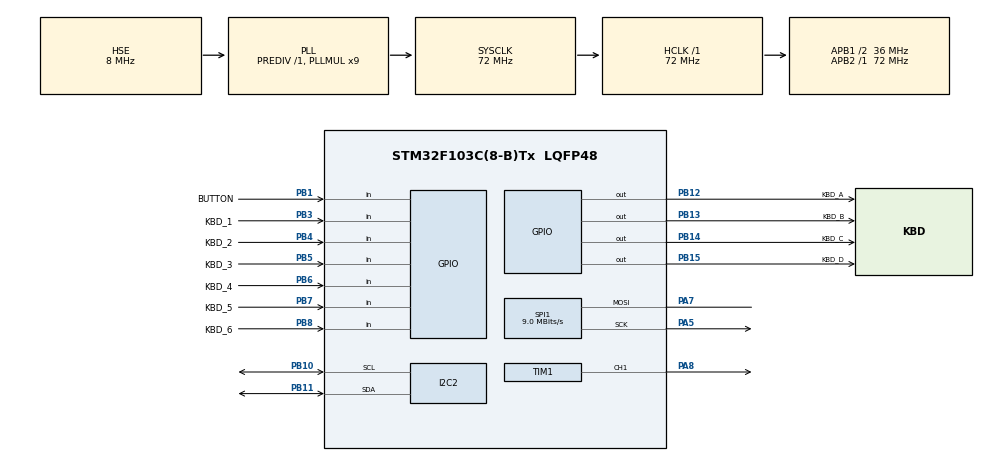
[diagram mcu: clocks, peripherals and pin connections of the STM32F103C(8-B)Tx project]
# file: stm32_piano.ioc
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I2C2.I2C_Mode=I2C_Fast
Mcu.Family=STM32F1
Mcu.Name=STM32F103C(8-B)Tx
Mcu.Package=LQFP48
NVIC.PriorityGroup=NVIC_PRIORITYGROUP_4
NVIC.TIM1_UP_IRQn=true\:0\:0\:false\:false\:true\:true\:true\:true
PA13.Mode=Serial_Wire
PA13.Signal=SYS_JTMS-SWDIO
PA14.Mode=Serial_Wire
PA14.Signal=SYS_JTCK-SWCLK
PA5.Mode=Simplex_Bidirectional_Master
PA5.Signal=SPI1_SCK
PA7.Mode=Simplex_Bidirectional_Master
PA7.Signal=SPI1_MOSI
PA8.Signal=S_TIM1_CH1
PB1.GPIO_Label=BUTTON
PB1.GPIO_PuPd=GPIO_PULLUP
PB1.Signal=GPIO_Input
PB10.Mode=I2C
PB10.Signal=I2C2_SCL
PB11.Mode=I2C
PB11.Signal=I2C2_SDA
PB12.GPIO_Label=KBD_A
PB12.GPIO_ModeDefaultOutputPP=GPIO_MODE_OUTPUT_OD
PB12.GPIO_PuPd=GPIO_NOPULL
PB12.PinState=GPIO_PIN_SET
PB12.Signal=GPIO_Output
PB13.GPIO_Label=KBD_B
PB13.GPIO_ModeDefaultOutputPP=GPIO_MODE_OUTPUT_OD
PB13.GPIO_PuPd=GPIO_NOPULL
PB13.PinState=GPIO_PIN_SET
PB13.Signal=GPIO_Output
PB14.GPIO_Label=KBD_C
PB14.GPIO_ModeDefaultOutputPP=GPIO_MODE_OUTPUT_OD
PB14.GPIO_PuPd=GPIO_NOPULL
PB14.PinState=GPIO_PIN_SET
PB14.Signal=GPIO_Output
PB15.GPIO_Label=KBD_D
PB15.GPIO_ModeDefaultOutputPP=GPIO_MODE_OUTPUT_OD
PB15.GPIO_PuPd=GPIO_NOPULL
PB15.PinState=GPIO_PIN_SET
PB15.Signal=GPIO_Output
PB3.GPIO_Label=KBD_1
PB3.GPIO_PuPd=GPIO_PULLUP
PB3.Signal=GPIO_Input
PB4.GPIO_Label=KBD_2
PB4.GPIO_PuPd=GPIO_PULLUP
PB4.Signal=GPIO_Input
PB5.GPIO_Label=KBD_3
PB5.GPIO_PuPd=GPIO_PULLUP
PB5.Signal=GPIO_Input
PB6.GPIO_Label=KBD_4
PB6.GPIO_PuPd=GPIO_PULLUP
PB6.Signal=GPIO_Input
PB7.GPIO_Label=KBD_5
PB7.GPIO_PuPd=GPIO_PULLUP
PB7.Signal=GPIO_Input
PB8.GPIO_Label=KBD_6
PB8.GPIO_PuPd=GPIO_PULLUP
PB8.Signal=GPIO_Input
PD0-OSC_IN.Mode=HSE-External-Oscillator
PD0-OSC_IN.Signal=RCC_OSC_IN
PD1-OSC_OUT.Mode=HSE-External-Oscillator
PD1-OSC_OUT.Signal=RCC_OSC_OUT
ProjectManager.HeapSize=0x200
ProjectManager.StackSize=0x400
ProjectManager.TargetToolchain=STM32CubeIDE
RCC.AHBFreq_Value=72000000
RCC.APB1CLKDivider=RCC_HCLK_DIV2
RCC.APB1Freq_Value=36000000
RCC.APB1TimFreq_Value=72000000
RCC.APB2Freq_Value=72000000
RCC.APB2TimFreq_Value=72000000
RCC.HCLKFreq_Value=72000000
RCC.PLLMUL=RCC_PLL_MUL9
RCC.PLLSourceVirtual=RCC_PLLSOURCE_HSE
RCC.SYSCLKFreq_VALUE=72000000
RCC.SYSCLKSource=RCC_SYSCLKSOURCE_PLLCLK
RCC.USBFreq_Value=72000000
SH.S_TIM1_CH1.0=TIM1_CH1,PWM Generation1 CH1
SPI1.BaudRatePrescaler=SPI_BAUDRATEPRESCALER_8
SPI1.CalculateBaudRate=9.0 MBits/s
SPI1.Direction=SPI_DIRECTION_1LINE
SPI1.Mode=SPI_MODE_MASTER
SPI1.VirtualType=VM_MASTER
TIM1.AutoReloadPreload=TIM_AUTORELOAD_PRELOAD_DISABLE
TIM1.Channel-PWM\ Generation1\ CH1=TIM_CHANNEL_1
TIM1.ClockDivision=TIM_CLOCKDIVISION_DIV1
TIM1.Period=2285
TIM1.Prescaler=0
board=custom

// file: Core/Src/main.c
/* USER CODE BEGIN Header */
/**
  ******************************************************************************
  * @file           : main.c
  * @brief          : Main program body
  ******************************************************************************
  * @attention
  *
  * Copyright (c) 2024 STMicroelectronics.
  * All rights reserved.
  *
  * This software is licensed under terms that can be found in the LICENSE file
  * in the root directory of this software component.
  * If no LICENSE file comes with this software, it is provided AS-IS.
  *
  ******************************************************************************
  */
/* USER CODE END Header */
#include "main.h"

I2C_HandleTypeDef hi2c2;

SPI_HandleTypeDef hspi1;

TIM_HandleTypeDef htim1;

void SystemClock_Config(void);
static void MX_GPIO_Init(void);
static void MX_SPI1_Init(void);
static void MX_TIM1_Init(void);
static void MX_I2C2_Init(void);

/* USER CODE BEGIN 0 */
gfx8_display_driver_t ssd1306_driver = {
		.width = SSD1306_WIDTH, .height = SSD1306_HEIGHT,
		.init = SSD1306_Init,
		.clear = SSD1306_Clear,
		.draw = SSD1306_Update,
		.get_buffer = SSD1306_GetFramebuffer,
		.set_backlight = NULL,
		.get_backlight = NULL,
		.sleep = SSD1306_Sleep
};
/* USER CODE END 0 */

int main(void)
{

  /* MCU Configuration--------------------------------------------------------*/

  /* Reset of all peripherals, Initializes the Flash interface and the Systick. */
  HAL_Init();

  /* Configure the system clock */
  SystemClock_Config();

  /* Initialize all configured peripherals */
  MX_GPIO_Init();
  MX_SPI1_Init();
  MX_TIM1_Init();
  MX_I2C2_Init();
  /* USER CODE BEGIN 2 */
  G8Lib_Init(&ssd1306_driver);
  startup_animation();

  synth_init();
  /* USER CODE END 2 */

  /* Infinite loop */
  while (1)
  {

    /* USER CODE BEGIN 3 */
	  synth_set_keys(keyboard_read());
	  synth_tick();
  }
  /* USER CODE END 3 */
}

void SystemClock_Config(void)
{
  RCC_OscInitTypeDef RCC_OscInitStruct = {0};
  RCC_ClkInitTypeDef RCC_ClkInitStruct = {0};

  /** Initializes the RCC Oscillators according to the specified parameters
  * in the RCC_OscInitTypeDef structure.
  */
  RCC_OscInitStruct.OscillatorType = RCC_OSCILLATORTYPE_HSE;
  RCC_OscInitStruct.HSEState = RCC_HSE_ON;
  RCC_OscInitStruct.HSEPredivValue = RCC_HSE_PREDIV_DIV1;
  RCC_OscInitStruct.HSIState = RCC_HSI_ON;
  RCC_OscInitStruct.PLL.PLLState = RCC_PLL_ON;
  RCC_OscInitStruct.PLL.PLLSource = RCC_PLLSOURCE_HSE;
  RCC_OscInitStruct.PLL.PLLMUL = RCC_PLL_MUL9;
  if (HAL_RCC_OscConfig(&RCC_OscInitStruct) != HAL_OK)
  {
    Error_Handler();
  }

  /** Initializes the CPU, AHB and APB buses clocks
  */
  RCC_ClkInitStruct.ClockType = RCC_CLOCKTYPE_HCLK|RCC_CLOCKTYPE_SYSCLK
                              |RCC_CLOCKTYPE_PCLK1|RCC_CLOCKTYPE_PCLK2;
  RCC_ClkInitStruct.SYSCLKSource = RCC_SYSCLKSOURCE_PLLCLK;
  RCC_ClkInitStruct.AHBCLKDivider = RCC_SYSCLK_DIV1;
  RCC_ClkInitStruct.APB1CLKDivider = RCC_HCLK_DIV2;
  RCC_ClkInitStruct.APB2CLKDivider = RCC_HCLK_DIV1;

  if (HAL_RCC_ClockConfig(&RCC_ClkInitStruct, FLASH_LATENCY_2) != HAL_OK)
  {
    Error_Handler();
  }
}

static void MX_I2C2_Init(void)
{

  hi2c2.Instance = I2C2;
  hi2c2.Init.ClockSpeed = 400000;
  hi2c2.Init.DutyCycle = I2C_DUTYCYCLE_2;
  hi2c2.Init.OwnAddress1 = 0;
  hi2c2.Init.AddressingMode = I2C_ADDRESSINGMODE_7BIT;
  hi2c2.Init.DualAddressMode = I2C_DUALADDRESS_DISABLE;
  hi2c2.Init.OwnAddress2 = 0;
  hi2c2.Init.GeneralCallMode = I2C_GENERALCALL_DISABLE;
  hi2c2.Init.NoStretchMode = I2C_NOSTRETCH_DISABLE;
  if (HAL_I2C_Init(&hi2c2) != HAL_OK)
  {
    Error_Handler();
  }

}

static void MX_SPI1_Init(void)
{

  /* SPI1 parameter configuration*/
  hspi1.Instance = SPI1;
  hspi1.Init.Mode = SPI_MODE_MASTER;
  hspi1.Init.Direction = SPI_DIRECTION_1LINE;
  hspi1.Init.DataSize = SPI_DATASIZE_8BIT;
  hspi1.Init.CLKPolarity = SPI_POLARITY_LOW;
  hspi1.Init.CLKPhase = SPI_PHASE_1EDGE;
  hspi1.Init.NSS = SPI_NSS_SOFT;
  hspi1.Init.BaudRatePrescaler = SPI_BAUDRATEPRESCALER_8;
  hspi1.Init.FirstBit = SPI_FIRSTBIT_MSB;
  hspi1.Init.TIMode = SPI_TIMODE_DISABLE;
  hspi1.Init.CRCCalculation = SPI_CRCCALCULATION_DISABLE;
  hspi1.Init.CRCPolynomial = 10;
  if (HAL_SPI_Init(&hspi1) != HAL_OK)
  {
    Error_Handler();
  }

}

static void MX_TIM1_Init(void)
{

  TIM_MasterConfigTypeDef sMasterConfig = {0};
  TIM_OC_InitTypeDef sConfigOC = {0};
  TIM_BreakDeadTimeConfigTypeDef sBreakDeadTimeConfig = {0};

  htim1.Instance = TIM1;
  htim1.Init.Prescaler = 0;
  htim1.Init.CounterMode = TIM_COUNTERMODE_UP;
  htim1.Init.Period = 2285;
  htim1.Init.ClockDivision = TIM_CLOCKDIVISION_DIV1;
  htim1.Init.RepetitionCounter = 0;
  htim1.Init.AutoReloadPreload = TIM_AUTORELOAD_PRELOAD_DISABLE;
  if (HAL_TIM_PWM_Init(&htim1) != HAL_OK)
  {
    Error_Handler();
  }
  sMasterConfig.MasterOutputTrigger = TIM_TRGO_RESET;
  sMasterConfig.MasterSlaveMode = TIM_MASTERSLAVEMODE_DISABLE;
  if (HAL_TIMEx_MasterConfigSynchronization(&htim1, &sMasterConfig) != HAL_OK)
  {
    Error_Handler();
  }
  sConfigOC.OCMode = TIM_OCMODE_PWM1;
  sConfigOC.Pulse = 0;
  sConfigOC.OCPolarity = TIM_OCPOLARITY_HIGH;
  sConfigOC.OCNPolarity = TIM_OCNPOLARITY_HIGH;
  sConfigOC.OCFastMode = TIM_OCFAST_DISABLE;
  sConfigOC.OCIdleState = TIM_OCIDLESTATE_RESET;
  sConfigOC.OCNIdleState = TIM_OCNIDLESTATE_RESET;
  if (HAL_TIM_PWM_ConfigChannel(&htim1, &sConfigOC, TIM_CHANNEL_1) != HAL_OK)
  {
    Error_Handler();
  }
  sBreakDeadTimeConfig.OffStateRunMode = TIM_OSSR_DISABLE;
  sBreakDeadTimeConfig.OffStateIDLEMode = TIM_OSSI_DISABLE;
  sBreakDeadTimeConfig.LockLevel = TIM_LOCKLEVEL_OFF;
  sBreakDeadTimeConfig.DeadTime = 0;
  sBreakDeadTimeConfig.BreakState = TIM_BREAK_DISABLE;
  sBreakDeadTimeConfig.BreakPolarity = TIM_BREAKPOLARITY_HIGH;
  sBreakDeadTimeConfig.AutomaticOutput = TIM_AUTOMATICOUTPUT_DISABLE;
  if (HAL_TIMEx_ConfigBreakDeadTime(&htim1, &sBreakDeadTimeConfig) != HAL_OK)
  {
    Error_Handler();
  }
  HAL_TIM_MspPostInit(&htim1);

}

static void MX_GPIO_Init(void)
{
  GPIO_InitTypeDef GPIO_InitStruct = {0};

  /* GPIO Ports Clock Enable */
  __HAL_RCC_GPIOC_CLK_ENABLE();
  __HAL_RCC_GPIOD_CLK_ENABLE();
  __HAL_RCC_GPIOA_CLK_ENABLE();
  __HAL_RCC_GPIOB_CLK_ENABLE();

  /*Configure GPIO pin Output Level */
  HAL_GPIO_WritePin(GPIOB, KBD_A_Pin|KBD_B_Pin|KBD_C_Pin|KBD_D_Pin, GPIO_PIN_SET);

  /*Configure GPIO pins : PC13 PC14 PC15 */
  GPIO_InitStruct.Pin = GPIO_PIN_13|GPIO_PIN_14|GPIO_PIN_15;
  GPIO_InitStruct.Mode = GPIO_MODE_ANALOG;
  HAL_GPIO_Init(GPIOC, &GPIO_InitStruct);

  /*Configure GPIO pins : PA0 PA1 PA2 PA3
                           PA4 PA6 PA9 PA10
                           PA11 PA12 PA15 */
  GPIO_InitStruct.Pin = GPIO_PIN_0|GPIO_PIN_1|GPIO_PIN_2|GPIO_PIN_3
                          |GPIO_PIN_4|GPIO_PIN_6|GPIO_PIN_9|GPIO_PIN_10
                          |GPIO_PIN_11|GPIO_PIN_12|GPIO_PIN_15;
  GPIO_InitStruct.Mode = GPIO_MODE_ANALOG;
  HAL_GPIO_Init(GPIOA, &GPIO_InitStruct);

  /*Configure GPIO pins : PB0 PB2 PB9 */
  GPIO_InitStruct.Pin = GPIO_PIN_0|GPIO_PIN_2|GPIO_PIN_9;
  GPIO_InitStruct.Mode = GPIO_MODE_ANALOG;
  HAL_GPIO_Init(GPIOB, &GPIO_InitStruct);

  /*Configure GPIO pins : BUTTON_Pin KBD_1_Pin KBD_2_Pin KBD_3_Pin
                           KBD_4_Pin KBD_5_Pin KBD_6_Pin */
  GPIO_InitStruct.Pin = BUTTON_Pin|KBD_1_Pin|KBD_2_Pin|KBD_3_Pin
                          |KBD_4_Pin|KBD_5_Pin|KBD_6_Pin;
  GPIO_InitStruct.Mode = GPIO_MODE_INPUT;
  GPIO_InitStruct.Pull = GPIO_PULLUP;
  HAL_GPIO_Init(GPIOB, &GPIO_InitStruct);

  /*Configure GPIO pins : KBD_A_Pin KBD_B_Pin KBD_C_Pin KBD_D_Pin */
  GPIO_InitStruct.Pin = KBD_A_Pin|KBD_B_Pin|KBD_C_Pin|KBD_D_Pin;
  GPIO_InitStruct.Mode = GPIO_MODE_OUTPUT_OD;
  GPIO_InitStruct.Pull = GPIO_NOPULL;
  GPIO_InitStruct.Speed = GPIO_SPEED_FREQ_LOW;
  HAL_GPIO_Init(GPIOB, &GPIO_InitStruct);

}

/* USER CODE BEGIN 4 */
uint32_t keyboard_coulumn_pin[] = {KBD_A_Pin, KBD_B_Pin, KBD_C_Pin, KBD_D_Pin};

uint32_t keyboard_read(void){
	 uint32_t tmp = 0;

	 /* Scan keyboard in fast way */
	 for(uint16_t line = 0; line < 4; line++){
		 /* Reset all lines */
		 GPIOB->BSRR = KBD_A_Pin|KBD_B_Pin|KBD_C_Pin|KBD_D_Pin;

		 /* Select line */
		 GPIOB->BSRR = keyboard_coulumn_pin[line] << 16;

		 /* Wait for a while */
		 for(volatile uint32_t wait = 0; wait < 75; wait++);

		 /* Read keys state port */
		 tmp |= (~GPIOB->IDR & (KBD_1_Pin|KBD_2_Pin|KBD_3_Pin|KBD_4_Pin|KBD_5_Pin|KBD_6_Pin)) >> 3;

		 if(line < 3){
			 tmp <<= 6;
		 }
	 }

	 /* Set all lines to idle */
	 GPIOB->BSRR = KBD_A_Pin|KBD_B_Pin|KBD_C_Pin|KBD_D_Pin;

	 return tmp;
}

/* USER CODE END 4 */

void Error_Handler(void)
{
  __disable_irq();
  while (1)
  {
  }
}
